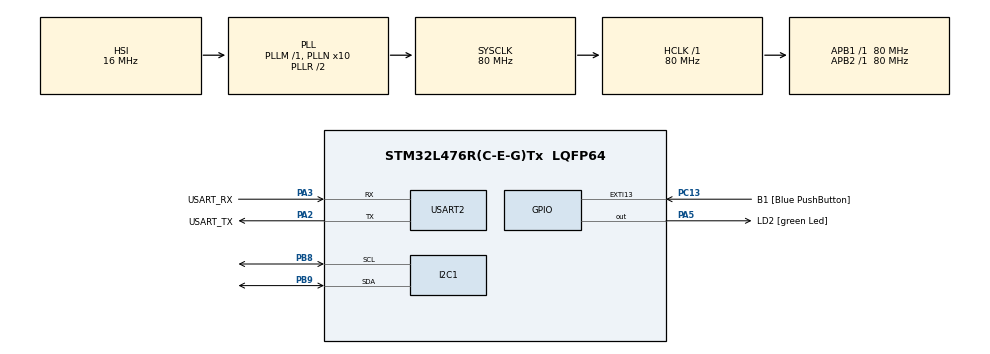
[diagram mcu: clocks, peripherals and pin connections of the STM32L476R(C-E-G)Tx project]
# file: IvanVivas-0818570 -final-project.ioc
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I2C1.Timing=0x10909CEC
Mcu.Family=STM32L4
Mcu.Name=STM32L476R(C-E-G)Tx
Mcu.Package=LQFP64
NVIC.PriorityGroup=NVIC_PRIORITYGROUP_4
PA13\ (JTMS-SWDIO).GPIO_Label=TMS
PA13\ (JTMS-SWDIO).Mode=Serial_Wire
PA13\ (JTMS-SWDIO).Signal=SYS_JTMS-SWDIO
PA14\ (JTCK-SWCLK).GPIO_Label=TCK
PA14\ (JTCK-SWCLK).Mode=Serial_Wire
PA14\ (JTCK-SWCLK).Signal=SYS_JTCK-SWCLK
PA2.GPIO_Label=USART_TX
PA2.GPIO_Mode=GPIO_MODE_AF_PP
PA2.GPIO_PuPd=GPIO_NOPULL
PA2.GPIO_Speed=GPIO_SPEED_FREQ_VERY_HIGH
PA2.Mode=Asynchronous
PA2.Signal=USART2_TX
PA3.GPIO_Label=USART_RX
PA3.GPIO_Mode=GPIO_MODE_AF_PP
PA3.GPIO_PuPd=GPIO_NOPULL
PA3.GPIO_Speed=GPIO_SPEED_FREQ_VERY_HIGH
PA3.Mode=Asynchronous
PA3.Signal=USART2_RX
PA5.GPIO_Label=LD2 [green Led]
PA5.GPIO_ModeDefaultOutputPP=GPIO_MODE_OUTPUT_PP
PA5.GPIO_PuPd=GPIO_NOPULL
PA5.GPIO_Speed=GPIO_SPEED_FREQ_LOW
PA5.Signal=GPIO_Output
PB3\ (JTDO-TRACESWO).GPIO_Label=SWO
PB3\ (JTDO-TRACESWO).Signal=SYS_JTDO-SWO
PB8.Mode=I2C
PB8.Signal=I2C1_SCL
PB9.Mode=I2C
PB9.Signal=I2C1_SDA
PC13.GPIO_Label=B1 [Blue PushButton]
PC13.GPIO_ModeDefaultEXTI=GPIO_MODE_IT_FALLING
PC13.GPIO_PuPd=GPIO_NOPULL
PC13.Signal=GPXTI13
PC14-OSC32_IN\ (PC14).Mode=LSE-External-Oscillator
PC14-OSC32_IN\ (PC14).Signal=RCC_OSC32_IN
PC15-OSC32_OUT\ (PC15).Mode=LSE-External-Oscillator
PC15-OSC32_OUT\ (PC15).Signal=RCC_OSC32_OUT
PH0-OSC_IN\ (PH0).Signal=RCC_OSC_IN
PH1-OSC_OUT\ (PH1).Signal=RCC_OSC_OUT
ProjectManager.HeapSize=0x200
ProjectManager.StackSize=0x400
ProjectManager.TargetToolchain=STM32CubeIDE
RCC.ADCFreq_Value=64000000
RCC.AHBFreq_Value=80000000
RCC.APB1Freq_Value=80000000
RCC.APB1TimFreq_Value=80000000
RCC.APB2Freq_Value=80000000
RCC.APB2TimFreq_Value=80000000
RCC.CortexFreq_Value=80000000
RCC.HCLKFreq_Value=80000000
RCC.HSE_VALUE=8000000
RCC.HSI_VALUE=16000000
RCC.MSI_VALUE=4000000
RCC.PLLN=10
RCC.PLLSourceVirtual=RCC_PLLSOURCE_HSI
RCC.PREFETCH_ENABLE=1
RCC.SYSCLKFreq_VALUE=80000000
RCC.SYSCLKSource=RCC_SYSCLKSOURCE_PLLCLK
RCC.USBFreq_Value=64000000
RCC.VCOOutputFreq_Value=160000000
USART2.VirtualMode-Asynchronous=VM_ASYNC
board=NUCLEO-L476RG

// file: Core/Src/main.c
/* USER CODE BEGIN Header */
/**
  ******************************************************************************
  * @file           : main.c
  * @brief          : Main program body
  ******************************************************************************
  * @attention
  *
  * Copyright (c) 2023 STMicroelectronics.
  * All rights reserved.
  *
  * This software is licensed under terms that can be found in the LICENSE file
  * in the root directory of this software component.
  * If no LICENSE file comes with this software, it is provided AS-IS.
  *
  ******************************************************************************
  */
/* USER CODE END Header */
#include "main.h"
#include "ssd1306.h"
#include "ssd1306_fonts.h"
#include "stm32l4xx_hal.h"
#include "ring_buffer.h"
#include <stdio.h>
#include <string.h>

I2C_HandleTypeDef hi2c1;

UART_HandleTypeDef huart2;
//ssd1306_HandleTypeDef 1306;
DMA_HandleTypeDef hdma_usart2_rx;

/* USER CODE BEGIN PV */

uint8_t multiples_fallas = 0;
uint8_t rx_buffer[10];
ring_buffer_t ring_buffer_uart_rx;
uint8_t rx_data;
/* USER CODE END PV */

void SystemClock_Config(void);
static void MX_GPIO_Init(void);
static void MX_USART2_UART_Init(void);
static void MX_I2C1_Init(void);
static void MX_DMA_Init(void);

/* USER CODE BEGIN 0 */
int _write(int file, char *ptr, int len)
{
  HAL_UART_Transmit(&huart2, (uint8_t *)ptr, len, HAL_MAX_DELAY);
  return len;
}

/* USER CODE END 0 */

int main(void)
{

  /* MCU Configuration--------------------------------------------------------*/

  /* Reset of all peripherals, Initializes the Flash interface and the Systick. */
  HAL_Init();

  /* Configure the system clock */
  SystemClock_Config();

  /* Initialize all configured peripherals */
  MX_GPIO_Init();
  MX_USART2_UART_Init();
  MX_I2C1_Init();
  /* USER CODE BEGIN 2 */
    //ssd1306_Init(1306);
	ssd1306_Init();
	ssd1306_Fill(Black);
	ssd1306_SetCursor(20, 20);
	ssd1306_WriteString("Waiting", Font_11x18, White);
	ssd1306_UpdateScreen();
  /* USER CODE END 2 */

int failedAttempts = 0;
//void strcmp (void);
  /* Infinite loop */
  /* USER CODE BEGIN WHILE */
  while (1)
  {

       // Supongamos que se recibe un comando y lo almacenas en la variable 'receivedCommand'
      const char *receivedCommand = "1234";  // Cambia esto con la lógica de recepción de comandos

      // Verifica el comando recibido
      const char *studentCode = "1234";  // Cambia esto con el código de estudiante

      if (strcmp(receivedCommand, studentCode) == 0) {
          ssd1306_DisplayMessage(1306, "Success");
          HAL_Delay(10000);  // Espera 10 segundos
          failedAttempts = 0;  // Restablece el contador de intentos fallidos
          ssd1306_DisplayMessage(1306, "Waiting");
      } else {
          ssd1306_DisplayMessage(1306, "Failed");
          HAL_Delay(10000);  // Espera 10 segundos
          failedAttempts++;

          if (failedAttempts == 3) {
              ssd1306_DisplayMessage(1306, "Blocked");
              HAL_Delay(30000);  // Espera 30 segundos
              failedAttempts = 0;  // Restablece el contador de intentos fallidos
              ssd1306_DisplayMessage(1306, "Waiting");
          }
      }
    /* USER CODE END WHILE */

  }
}

void SystemClock_Config(void)
{
  RCC_OscInitTypeDef RCC_OscInitStruct = {0};
  RCC_ClkInitTypeDef RCC_ClkInitStruct = {0};

  /** Configure the main internal regulator output voltage
  */
  if (HAL_PWREx_ControlVoltageScaling(PWR_REGULATOR_VOLTAGE_SCALE1) != HAL_OK)
  {
    Error_Handler();
  }

  /** Initializes the RCC Oscillators according to the specified parameters
  * in the RCC_OscInitTypeDef structure.
  */
  RCC_OscInitStruct.OscillatorType = RCC_OSCILLATORTYPE_HSI;
  RCC_OscInitStruct.HSIState = RCC_HSI_ON;
  RCC_OscInitStruct.HSICalibrationValue = RCC_HSICALIBRATION_DEFAULT;
  RCC_OscInitStruct.PLL.PLLState = RCC_PLL_ON;
  RCC_OscInitStruct.PLL.PLLSource = RCC_PLLSOURCE_HSI;
  RCC_OscInitStruct.PLL.PLLM = 1;
  RCC_OscInitStruct.PLL.PLLN = 10;
  RCC_OscInitStruct.PLL.PLLP = RCC_PLLP_DIV7;
  RCC_OscInitStruct.PLL.PLLQ = RCC_PLLQ_DIV2;
  RCC_OscInitStruct.PLL.PLLR = RCC_PLLR_DIV2;
  if (HAL_RCC_OscConfig(&RCC_OscInitStruct) != HAL_OK)
  {
    Error_Handler();
  }

  /** Initializes the CPU, AHB and APB buses clocks
  */
  RCC_ClkInitStruct.ClockType = RCC_CLOCKTYPE_HCLK|RCC_CLOCKTYPE_SYSCLK
                              |RCC_CLOCKTYPE_PCLK1|RCC_CLOCKTYPE_PCLK2;
  RCC_ClkInitStruct.SYSCLKSource = RCC_SYSCLKSOURCE_PLLCLK;
  RCC_ClkInitStruct.AHBCLKDivider = RCC_SYSCLK_DIV1;
  RCC_ClkInitStruct.APB1CLKDivider = RCC_HCLK_DIV1;
  RCC_ClkInitStruct.APB2CLKDivider = RCC_HCLK_DIV1;

  if (HAL_RCC_ClockConfig(&RCC_ClkInitStruct, FLASH_LATENCY_4) != HAL_OK)
  {
    Error_Handler();
  }
}

static void MX_I2C1_Init(void)
{

  hi2c1.Instance = I2C1;
  hi2c1.Init.Timing = 0x10909CEC;
  hi2c1.Init.OwnAddress1 = 0;
  hi2c1.Init.AddressingMode = I2C_ADDRESSINGMODE_7BIT;
  hi2c1.Init.DualAddressMode = I2C_DUALADDRESS_DISABLE;
  hi2c1.Init.OwnAddress2 = 0;
  hi2c1.Init.OwnAddress2Masks = I2C_OA2_NOMASK;
  hi2c1.Init.GeneralCallMode = I2C_GENERALCALL_DISABLE;
  hi2c1.Init.NoStretchMode = I2C_NOSTRETCH_DISABLE;
  if (HAL_I2C_Init(&hi2c1) != HAL_OK)
  {
    Error_Handler();
  }

  /** Configure Analogue filter
  */
  if (HAL_I2CEx_ConfigAnalogFilter(&hi2c1, I2C_ANALOGFILTER_ENABLE) != HAL_OK)
  {
    Error_Handler();
  }

  /** Configure Digital filter
  */
  if (HAL_I2CEx_ConfigDigitalFilter(&hi2c1, 0) != HAL_OK)
  {
    Error_Handler();
  }

}

static void MX_USART2_UART_Init(void)
{

  huart2.Instance = USART2;
  huart2.Init.BaudRate = 115200;
  huart2.Init.WordLength = UART_WORDLENGTH_8B;
  huart2.Init.StopBits = UART_STOPBITS_1;
  huart2.Init.Parity = UART_PARITY_NONE;
  huart2.Init.Mode = UART_MODE_TX_RX;
  huart2.Init.HwFlowCtl = UART_HWCONTROL_NONE;
  huart2.Init.OverSampling = UART_OVERSAMPLING_16;
  huart2.Init.OneBitSampling = UART_ONE_BIT_SAMPLE_DISABLE;
  huart2.AdvancedInit.AdvFeatureInit = UART_ADVFEATURE_NO_INIT;
  if (HAL_UART_Init(&huart2) != HAL_OK)
  {
    Error_Handler();
  }

}

static void MX_GPIO_Init(void)
{
  GPIO_InitTypeDef GPIO_InitStruct = {0};

  /* GPIO Ports Clock Enable */
  __HAL_RCC_GPIOC_CLK_ENABLE();
  __HAL_RCC_GPIOH_CLK_ENABLE();
  __HAL_RCC_GPIOA_CLK_ENABLE();
  __HAL_RCC_GPIOB_CLK_ENABLE();

  /*Configure GPIO pin Output Level */
  HAL_GPIO_WritePin(LD2_GPIO_Port, LD2_Pin, GPIO_PIN_RESET);

  /*Configure GPIO pin : B1_Pin */
  GPIO_InitStruct.Pin = B1_Pin;
  GPIO_InitStruct.Mode = GPIO_MODE_IT_FALLING;
  GPIO_InitStruct.Pull = GPIO_NOPULL;
  HAL_GPIO_Init(B1_GPIO_Port, &GPIO_InitStruct);

  /*Configure GPIO pin : LD2_Pin */
  GPIO_InitStruct.Pin = LD2_Pin;
  GPIO_InitStruct.Mode = GPIO_MODE_OUTPUT_PP;
  GPIO_InitStruct.Pull = GPIO_NOPULL;
  GPIO_InitStruct.Speed = GPIO_SPEED_FREQ_LOW;
  HAL_GPIO_Init(LD2_GPIO_Port, &GPIO_InitStruct);

}

void Error_Handler(void)
{
  __disable_irq();
  while (1)
  {
  }
}
